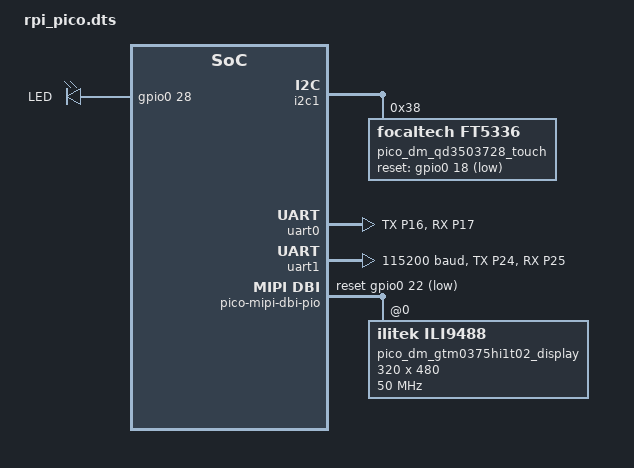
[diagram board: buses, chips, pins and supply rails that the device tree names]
/*
 * Copyright (c) 2021 Yonatan Schachter
 *
 * SPDX-License-Identifier: Apache-2.0
 */

/dts-v1/;

#include "rpi_pico-common.dtsi"
#include <zephyr/dt-bindings/display/ili9xxx.h>
#include <zephyr/dt-bindings/dma/rpi_pico_dma.h>

/ {
	leds {
		compatible = "gpio-leds";
		led0: led_0 {
			gpios = <&gpio0 28 GPIO_ACTIVE_HIGH>;
			label = "LED";
		};
	};

	pwm_leds {
		compatible = "pwm-leds";
		status = "disabled";
		pwm_led0: pwm_led_0 {
			pwms = <&pwm 9 PWM_MSEC(20) PWM_POLARITY_NORMAL>;
			label = "PWM_LED";
		};
	};

	aliases {
		led0 = &led0;
		pwm-led0 = &pwm_led0;
	};

	chosen {
		zephyr,console = &uart1;
		zephyr,shell-uart = &uart1;
		zephyr,display = &pico_dm_gtm0375hi1t02_display;
		// zephyr,touch = &ft5336_buydisplay_3_5_tft_touch_arduino;
		// zephyr,touch = &pico_dm_gtm0375hi1t02_touch;
		zephyr,touch = &pico_dm_qd3503728_touch;
	};

	lvgl_pointer {
		compatible = "zephyr,lvgl-pointer-input";
		// input = <&pico_dm_gtm0375hi1t02_touch>;
		input = <&pico_dm_qd3503728_touch>;
		// swap-xy;
		// invert-x;
		// invert-y;
	};

#if 0
	mipi-dbi-bitbang {
		compatible = "zephyr,mipi-dbi-bitbang";
		#size-cells = <0>;
		#address-cells = <1>;
		dc-gpios = <&gpio0 20 GPIO_ACTIVE_HIGH>;
		reset-gpios = <&gpio0 18 GPIO_ACTIVE_LOW>;
		rd-gpios = <&gpio0 29 GPIO_ACTIVE_HIGH>;
		wr-gpios = <&gpio0 19 GPIO_ACTIVE_HIGH>;
		cs-gpios = <&gpio0 29 GPIO_ACTIVE_LOW>;

		data-gpios = <&gpio0 0 GPIO_ACTIVE_HIGH>,
			     <&gpio0 1 GPIO_ACTIVE_HIGH>,
			     <&gpio0 2 GPIO_ACTIVE_HIGH>,
			     <&gpio0 3 GPIO_ACTIVE_HIGH>,
			     <&gpio0 4 GPIO_ACTIVE_HIGH>,
			     <&gpio0 5 GPIO_ACTIVE_HIGH>,
			     <&gpio0 6 GPIO_ACTIVE_HIGH>,
			     <&gpio0 7 GPIO_ACTIVE_HIGH>;

		pico_dm_gtm0375hi1t02_display: ili9488@0 {
			compatible = "ilitek,ili9488";
			mipi-max-frequency = <5000000>;
			mipi-mode = "MIPI_DBI_MODE_8080_BUS_8_BIT";
			reg = <0>;
			pixel-format = <ILI9XXX_PIXEL_FORMAT_RGB565>;
			width = <320>;
			height = <480>;
			rotation = <90>;
			pgamctrl = [00 03 09 08 16 0a 3f 78 4c 09 0a 08 16 1a 0f];
			ngamctrl = [00 16 19 03 0f 05 32 45 46 04 0e 0d 35 37 0f];
			pwctrl1 = [17 15];
			pwctrl2 = [41];
			vmctrl = [00 12 80];
			frmctr1 = [d0 14];
			disctrl = [02 02 3b];
		};
	};
#endif
};

&pinctrl {
	pio1_mipi_dbi_default: pio1_mipi_dbi_default {
		data-pins {
			pinmux = <PIO1_P0>, <PIO1_P1>, <PIO1_P2>, <PIO1_P3>,
				 <PIO1_P4>, <PIO1_P5>, <PIO1_P6>, <PIO1_P7>,
				 <PIO1_P8>, <PIO1_P9>, <PIO1_P10>, <PIO1_P11>,
				 <PIO1_P12>, <PIO1_P13>, <PIO1_P14>, <PIO1_P15>;
		};
		enwr-pins {
			pinmux = <PIO1_P19>;
		};
	};

	i2c1_remap: i2c1_remap {
		group1 {
			pinmux = <I2C1_SDA_P26>, <I2C1_SCL_P27>;
			input-enable;
			input-schmitt-enable;
		};
	};

	uart0_remap: uart0_remap {
		group1 {
			pinmux = <UART0_TX_P16>;
		};
		group2 {
			pinmux = <UART0_RX_P17>;
			input-enable;
		};
	};

	uart1_remap: uart1_remap {
		group1 {
			pinmux = <UART1_TX_P24>;
		};
		group2 {
			pinmux = <UART1_RX_P25>;
			input-enable;
		};
	};
};

&i2c1 {
	status = "okay";
	pinctrl-0 = <&i2c1_remap>;

	// pico_dm_gtm0375hi1t02_touch: ns2009@48 {
	// 	compatible = "nsiway,ns2009";
	// 	reg = <0x48>;
	// 	int-gpios = <&gpio0 21 GPIO_ACTIVE_LOW>;
	// 	touchscreen-size-x = <320>;
	// 	touchscreen-size-y = <480>;
	// 	min-x = <5>;
	// 	min-y = <0>;
	// 	max-x = <415>;
	// 	max-y = <265>;
	// };

	pico_dm_qd3503728_touch: ft5336@38 {
		compatible = "focaltech,ft5336";
		reg = <0x38>;
		reset-gpios = <&gpio0 18 GPIO_ACTIVE_LOW>;
	};
};

&uart0 {
	status = "okay";
	pinctrl-0 = <&uart0_remap>;
};

&uart1 {
	current-speed = <115200>;
	status = "okay";
	pinctrl-0 = <&uart1_remap>;
	pinctrl-names = "default";
};

&dma {
	status = "okay";
};

&pio0 {
	status = "okay";
};

&pio1 {
	status = "okay";

	pico-mipi-dbi-pio {
		dmas = <&dma 0 RPI_PICO_DMA_SLOT_PIO1_TX0 0x1>;
		dma-names = "tx";
		pinctrl-0 = <&pio1_mipi_dbi_default>;
		pinctrl-names = "default";

		compatible = "raspberrypi,pico-mipi-dbi-pio";
		#size-cells = <0>;
		#address-cells = <1>;
		rs-gpios = <&gpio0 20 GPIO_ACTIVE_HIGH>;
		reset-gpios = <&gpio0 22 GPIO_ACTIVE_LOW>;
		rdwr-gpios = <&gpio0 29 GPIO_ACTIVE_HIGH>;
		cs-gpios = <&gpio0 29 GPIO_ACTIVE_LOW>;
		data-pin-start = <0>;
		enwr-pin = <19>;

		pico_dm_gtm0375hi1t02_display: ili9488@0 {
			compatible = "ilitek,ili9488";
			mipi-max-frequency = <50000000>;
			mipi-mode = "MIPI_DBI_MODE_8080_BUS_16_BIT";
			reg = <0>;
			pixel-format = <ILI9XXX_PIXEL_FORMAT_RGB565>;
			width = <320>;
			height = <480>;
			rotation = <90>;
			pgamctrl = [00 03 09 08 16 0a 3f 78 4c 09 0a 08 16 1a 0f];
			ngamctrl = [00 16 19 03 0f 05 32 45 46 04 0e 0d 35 37 0f];
			pwctrl1 = [17 15];
			pwctrl2 = [41];
			vmctrl = [00 12 80];
			frmctr1 = [d0 14];
			disctrl = [02 02 3b];
		};
	};
};

/*
❯ ~/pico-sdk/src/rp2_common/hardware_clocks/scripts/vcocalc.py 240
Requested: 240.0 MHz
Achieved:  240.0 MHz
REFDIV:    1
FBDIV:     120 (VCO = 1440.0 MHz)
PD1:       6
PD2:       1
*/
// &pll_sys {
// 	clock-div= <1>;
// 	fb-div= <120>;
// 	post-div1 = <6>;
// 	post-div2 = <1>;
// };

// &clk_sys {
// 	clock-frequency = <240000000>;
// };

// &clk_peri {
// 	clock-frequency = <240000000>;
// };
